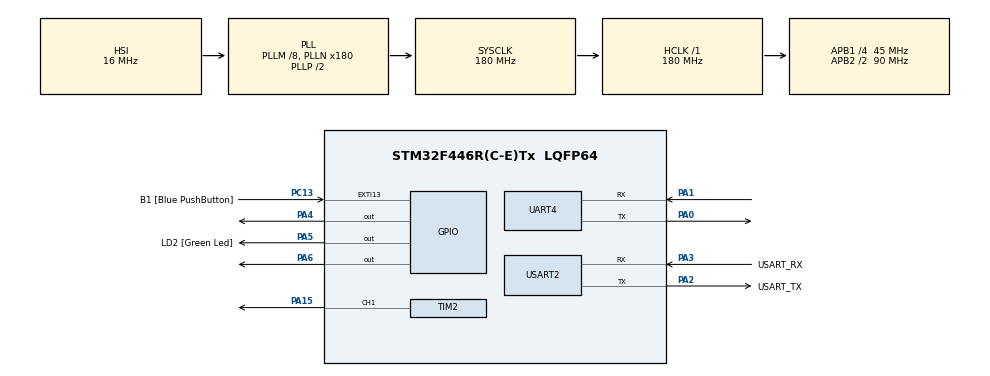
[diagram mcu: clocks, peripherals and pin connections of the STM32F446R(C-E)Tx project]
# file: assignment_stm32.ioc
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Mcu.Family=STM32F4
Mcu.Name=STM32F446R(C-E)Tx
Mcu.Package=LQFP64
NVIC.PriorityGroup=NVIC_PRIORITYGROUP_0
NVIC.UART4_IRQn=true\:0\:0\:false\:false\:true\:true\:true\:true
PA0-WKUP.Mode=Asynchronous
PA0-WKUP.Signal=UART4_TX
PA1.Mode=Asynchronous
PA1.Signal=UART4_RX
PA13.GPIO_Label=TMS
PA13.Mode=Serial_Wire
PA13.Signal=SYS_JTMS-SWDIO
PA14.GPIO_Label=TCK
PA14.Mode=Serial_Wire
PA14.Signal=SYS_JTCK-SWCLK
PA15.Signal=S_TIM2_CH1_ETR
PA2.GPIO_Label=USART_TX
PA2.Mode=Asynchronous
PA2.Signal=USART2_TX
PA3.GPIO_Label=USART_RX
PA3.Mode=Asynchronous
PA3.Signal=USART2_RX
PA4.Signal=GPIO_Output
PA5.GPIO_Label=LD2 [Green Led]
PA5.Signal=GPIO_Output
PA6.Signal=GPIO_Output
PB3.GPIO_Label=SWO
PB3.Signal=SYS_JTDO-SWO
PC13.GPIO_Label=B1 [Blue PushButton]
PC13.GPIO_ModeDefaultEXTI=GPIO_MODE_IT_FALLING
PC13.Signal=GPXTI13
PC14-OSC32_IN.Mode=LSE-External-Oscillator
PC14-OSC32_IN.Signal=RCC_OSC32_IN
PC15-OSC32_OUT.Mode=LSE-External-Oscillator
PC15-OSC32_OUT.Signal=RCC_OSC32_OUT
PH0-OSC_IN.Mode=HSE-External-Oscillator
PH0-OSC_IN.Signal=RCC_OSC_IN
PH1-OSC_OUT.Mode=HSE-External-Oscillator
PH1-OSC_OUT.Signal=RCC_OSC_OUT
ProjectManager.HeapSize=0x200
ProjectManager.StackSize=0x400
ProjectManager.TargetToolchain=STM32CubeIDE
RCC.48MHZClocksFreq_Value=84000000
RCC.AHBFreq_Value=180000000
RCC.APB1CLKDivider=RCC_HCLK_DIV4
RCC.APB1Freq_Value=45000000
RCC.APB1TimFreq_Value=90000000
RCC.APB2CLKDivider=RCC_HCLK_DIV2
RCC.APB2Freq_Value=90000000
RCC.APB2TimFreq_Value=180000000
RCC.CortexFreq_Value=180000000
RCC.FLatency-AdvancedSettings=FLASH_LATENCY_5
RCC.HCLKFreq_Value=180000000
RCC.HSE_VALUE=8000000
RCC.HSI_VALUE=16000000
RCC.PLLM=8
RCC.PLLN=180
RCC.SYSCLKFreq_VALUE=180000000
RCC.SYSCLKSource=RCC_SYSCLKSOURCE_PLLCLK
RCC.USBFreq_Value=180000000
RCC.VCOOutputFreq_Value=360000000
SH.S_TIM2_CH1_ETR.0=TIM2_CH1,Output Compare1 CH1
TIM2.Channel-Output\ Compare1\ CH1=TIM_CHANNEL_1
TIM2.Period=1000-1
TIM2.Prescaler=179
UART4.VirtualMode=Asynchronous
USART2.VirtualMode=VM_ASYNC
VP_TIM2_VS_ClockSourceINT.Mode=Internal
board=NUCLEO-F446RE

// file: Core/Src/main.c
/* USER CODE BEGIN Header */
/**
  ******************************************************************************
  * @file           : main.c
  * @brief          : Main program body
  ******************************************************************************
  * @attention
  *
  * Copyright (c) 2026 STMicroelectronics.
  * All rights reserved.
  *
  * This software is licensed under terms that can be found in the LICENSE file
  * in the root directory of this software component.
  * If no LICENSE file comes with this software, it is provided AS-IS.
  *
  ******************************************************************************
  */
/* USER CODE END Header */
#include "main.h"

/* USER CODE BEGIN Includes */
#include "string.h"
#include "stdio.h"

/* USER CODE END Includes */

/* USER CODE BEGIN PD */
uint8_t rx_data;
char buffer[100];
int idx =0;
volatile uint32_t target_steps = 0;
volatile uint32_t step_count = 0;
int c =0;
volatile uint8_t msg_ready = 0;
/* USER CODE END PD */

TIM_HandleTypeDef htim2;

UART_HandleTypeDef huart4;
UART_HandleTypeDef huart2;

void SystemClock_Config(void);
static void MX_GPIO_Init(void);
static void MX_USART2_UART_Init(void);
static void MX_TIM2_Init(void);
static void MX_UART4_Init(void);

/* USER CODE BEGIN 0 */

int _write(int file, char *ptr, int len)
{
    for (int i = 0; i < len; i++)
    {
        ITM_SendChar(*ptr++);
    }
    return len;
}

void HAL_UART_ErrorCallback(UART_HandleTypeDef *huart)
{
    if(huart->Instance == UART4)
    {
        __HAL_UART_CLEAR_OREFLAG(huart);
        HAL_UART_Receive_IT(&huart4, &rx_data, 1);
    }
}

void motor_control(uint32_t steps, uint8_t dir, uint32_t delay_ms)
{
    HAL_GPIO_WritePin(GPIOA, GPIO_PIN_6,
                      dir ? GPIO_PIN_RESET : GPIO_PIN_SET);

    printf("Motor start: steps=%lu dir=%d\n", steps, dir);

    for(uint32_t i = 0; i < steps; i++)
    {
        // STEP HIGH
        HAL_GPIO_WritePin(GPIOA, GPIO_PIN_4, GPIO_PIN_SET);

        HAL_Delay(1);

        // STEP LOW
        HAL_GPIO_WritePin(GPIOA, GPIO_PIN_4, GPIO_PIN_RESET);

        HAL_Delay(delay_ms);

        if((i+1) % 100 == 0)
        {
            printf("Steps: %lu\n", i+1);
        }
    }

    printf("Motor done. Total steps: %lu\n", steps);
}

void parse_command(char *buff)
{

	if(strstr(buff,"motor:"))
	{
		int steps,dir;
//		printf("CMD: %s\n", buff);
		sscanf(buff,"motor:%d:%d",&steps,&dir);
		motor_control(steps,dir,5);
	}
	else if(strstr(buff,"led:on"))
	{
		HAL_GPIO_WritePin(GPIOA,GPIO_PIN_5,GPIO_PIN_SET);
		printf("led:on\n");
	}
	else if(strstr(buff,"led:off"))
		{
			HAL_GPIO_WritePin(GPIOA,GPIO_PIN_5,GPIO_PIN_RESET);
			printf("led:off\n");
		}
}

void HAL_UART_RxCpltCallback(UART_HandleTypeDef *huart)
{
    if (huart->Instance == UART4)
    {
        if (rx_data == '\r')
        {
            HAL_UART_Receive_IT(&huart4, &rx_data, 1);
            return;
        }

        if (rx_data == '\n')
        {
            buffer[idx] = '\0';
            msg_ready = 1;
            idx = 0;
        }
        else
        {
            if (idx < sizeof(buffer) - 1)
            {
                buffer[idx++] = rx_data;
            }
            else
            {
                idx = 0;
            }
        }

        HAL_UART_Receive_IT(&huart4, &rx_data, 1);
    }
}
/* USER CODE END 0 */

int main(void)
{

  /* MCU Configuration--------------------------------------------------------*/

  /* Reset of all peripherals, Initializes the Flash interface and the Systick. */
  HAL_Init();

  /* Configure the system clock */
  SystemClock_Config();

  /* Initialize all configured peripherals */
  MX_GPIO_Init();
  MX_USART2_UART_Init();
  MX_TIM2_Init();
  MX_UART4_Init();
  /* USER CODE BEGIN 2 */
  HAL_UART_Receive_IT(&huart4, &rx_data, 1);
  /* USER CODE END 2 */

  /* Infinite loop */
  while (1)
  {

    /* USER CODE BEGIN 3 */
	  if (msg_ready)
	      {
	          parse_command((char*)buffer);
	          msg_ready = 0;
	      }
  }

  /* USER CODE END 3 */
}

void SystemClock_Config(void)
{
  RCC_OscInitTypeDef RCC_OscInitStruct = {0};
  RCC_ClkInitTypeDef RCC_ClkInitStruct = {0};

  /** Configure the main internal regulator output voltage
  */
  __HAL_RCC_PWR_CLK_ENABLE();
  __HAL_PWR_VOLTAGESCALING_CONFIG(PWR_REGULATOR_VOLTAGE_SCALE1);

  /** Initializes the RCC Oscillators according to the specified parameters
  * in the RCC_OscInitTypeDef structure.
  */
  RCC_OscInitStruct.OscillatorType = RCC_OSCILLATORTYPE_HSI;
  RCC_OscInitStruct.HSIState = RCC_HSI_ON;
  RCC_OscInitStruct.HSICalibrationValue = RCC_HSICALIBRATION_DEFAULT;
  RCC_OscInitStruct.PLL.PLLState = RCC_PLL_ON;
  RCC_OscInitStruct.PLL.PLLSource = RCC_PLLSOURCE_HSI;
  RCC_OscInitStruct.PLL.PLLM = 8;
  RCC_OscInitStruct.PLL.PLLN = 180;
  RCC_OscInitStruct.PLL.PLLP = RCC_PLLP_DIV2;
  RCC_OscInitStruct.PLL.PLLQ = 2;
  RCC_OscInitStruct.PLL.PLLR = 2;
  if (HAL_RCC_OscConfig(&RCC_OscInitStruct) != HAL_OK)
  {
    Error_Handler();
  }

  /** Activate the Over-Drive mode
  */
  if (HAL_PWREx_EnableOverDrive() != HAL_OK)
  {
    Error_Handler();
  }

  /** Initializes the CPU, AHB and APB buses clocks
  */
  RCC_ClkInitStruct.ClockType = RCC_CLOCKTYPE_HCLK|RCC_CLOCKTYPE_SYSCLK
                              |RCC_CLOCKTYPE_PCLK1|RCC_CLOCKTYPE_PCLK2;
  RCC_ClkInitStruct.SYSCLKSource = RCC_SYSCLKSOURCE_PLLCLK;
  RCC_ClkInitStruct.AHBCLKDivider = RCC_SYSCLK_DIV1;
  RCC_ClkInitStruct.APB1CLKDivider = RCC_HCLK_DIV4;
  RCC_ClkInitStruct.APB2CLKDivider = RCC_HCLK_DIV2;

  if (HAL_RCC_ClockConfig(&RCC_ClkInitStruct, FLASH_LATENCY_5) != HAL_OK)
  {
    Error_Handler();
  }
}

static void MX_TIM2_Init(void)
{

  TIM_ClockConfigTypeDef sClockSourceConfig = {0};
  TIM_MasterConfigTypeDef sMasterConfig = {0};
  TIM_OC_InitTypeDef sConfigOC = {0};

  htim2.Instance = TIM2;
  htim2.Init.Prescaler = 179;
  htim2.Init.CounterMode = TIM_COUNTERMODE_UP;
  htim2.Init.Period = 1000-1;
  htim2.Init.ClockDivision = TIM_CLOCKDIVISION_DIV1;
  htim2.Init.AutoReloadPreload = TIM_AUTORELOAD_PRELOAD_DISABLE;
  if (HAL_TIM_Base_Init(&htim2) != HAL_OK)
  {
    Error_Handler();
  }
  sClockSourceConfig.ClockSource = TIM_CLOCKSOURCE_INTERNAL;
  if (HAL_TIM_ConfigClockSource(&htim2, &sClockSourceConfig) != HAL_OK)
  {
    Error_Handler();
  }
  if (HAL_TIM_OC_Init(&htim2) != HAL_OK)
  {
    Error_Handler();
  }
  sMasterConfig.MasterOutputTrigger = TIM_TRGO_RESET;
  sMasterConfig.MasterSlaveMode = TIM_MASTERSLAVEMODE_DISABLE;
  if (HAL_TIMEx_MasterConfigSynchronization(&htim2, &sMasterConfig) != HAL_OK)
  {
    Error_Handler();
  }
  sConfigOC.OCMode = TIM_OCMODE_TIMING;
  sConfigOC.Pulse = 0;
  sConfigOC.OCPolarity = TIM_OCPOLARITY_HIGH;
  sConfigOC.OCFastMode = TIM_OCFAST_DISABLE;
  if (HAL_TIM_OC_ConfigChannel(&htim2, &sConfigOC, TIM_CHANNEL_1) != HAL_OK)
  {
    Error_Handler();
  }
  HAL_TIM_MspPostInit(&htim2);

}

static void MX_UART4_Init(void)
{

  huart4.Instance = UART4;
  huart4.Init.BaudRate = 115200;
  huart4.Init.WordLength = UART_WORDLENGTH_8B;
  huart4.Init.StopBits = UART_STOPBITS_1;
  huart4.Init.Parity = UART_PARITY_NONE;
  huart4.Init.Mode = UART_MODE_TX_RX;
  huart4.Init.HwFlowCtl = UART_HWCONTROL_NONE;
  huart4.Init.OverSampling = UART_OVERSAMPLING_16;
  if (HAL_UART_Init(&huart4) != HAL_OK)
  {
    Error_Handler();
  }

}

static void MX_USART2_UART_Init(void)
{

  huart2.Instance = USART2;
  huart2.Init.BaudRate = 115200;
  huart2.Init.WordLength = UART_WORDLENGTH_8B;
  huart2.Init.StopBits = UART_STOPBITS_1;
  huart2.Init.Parity = UART_PARITY_NONE;
  huart2.Init.Mode = UART_MODE_TX_RX;
  huart2.Init.HwFlowCtl = UART_HWCONTROL_NONE;
  huart2.Init.OverSampling = UART_OVERSAMPLING_16;
  if (HAL_UART_Init(&huart2) != HAL_OK)
  {
    Error_Handler();
  }

}

static void MX_GPIO_Init(void)
{
  GPIO_InitTypeDef GPIO_InitStruct = {0};

  /* GPIO Ports Clock Enable */
  __HAL_RCC_GPIOC_CLK_ENABLE();
  __HAL_RCC_GPIOH_CLK_ENABLE();
  __HAL_RCC_GPIOA_CLK_ENABLE();
  __HAL_RCC_GPIOB_CLK_ENABLE();

  /*Configure GPIO pin Output Level */
  HAL_GPIO_WritePin(GPIOA, GPIO_PIN_4|LD2_Pin|GPIO_PIN_6, GPIO_PIN_RESET);

  /*Configure GPIO pin : B1_Pin */
  GPIO_InitStruct.Pin = B1_Pin;
  GPIO_InitStruct.Mode = GPIO_MODE_IT_FALLING;
  GPIO_InitStruct.Pull = GPIO_NOPULL;
  HAL_GPIO_Init(B1_GPIO_Port, &GPIO_InitStruct);

  /*Configure GPIO pins : PA4 LD2_Pin PA6 */
  GPIO_InitStruct.Pin = GPIO_PIN_4|LD2_Pin|GPIO_PIN_6;
  GPIO_InitStruct.Mode = GPIO_MODE_OUTPUT_PP;
  GPIO_InitStruct.Pull = GPIO_NOPULL;
  GPIO_InitStruct.Speed = GPIO_SPEED_FREQ_LOW;
  HAL_GPIO_Init(GPIOA, &GPIO_InitStruct);

}

void Error_Handler(void)
{
  __disable_irq();
  while (1)
  {
  }
}
